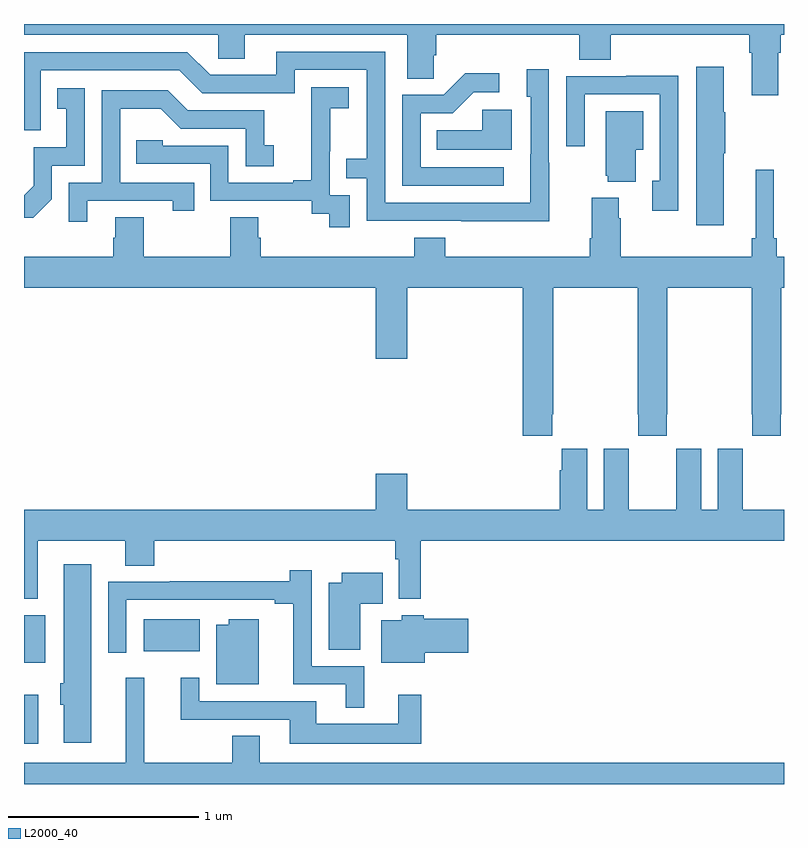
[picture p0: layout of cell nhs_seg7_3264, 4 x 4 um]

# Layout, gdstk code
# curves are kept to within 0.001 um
import gdstk
lib = gdstk.Library(unit=1e-6, precision=1e-09)
def R(c, l, rs):  # rectangles x0, y0, x1, y1
    for r in rs: c.add(gdstk.rectangle(r[:2], r[2:], *l))
def P(c, l, *ps):  # polygons
    for p in ps: c.add(gdstk.Polygon(p, *l))
L2000_40 = (2000, 40)

nhs_seg7_3264 = lib.new_cell('nhs_seg7_3264')
R(nhs_seg7_3264, L2000_40, [(319,1002.212,319.075,1002.469), (319,1002.638,319.111,1002.889), (319.631,1002.698,319.924,1002.868)])
P(nhs_seg7_3264, L2000_40, [(322.969,1005.848),(322.982,1005.848),(322.982,1005.944),(323,1005.944),(323,1006),(319,1006),(319,1005.944),(320.022,1005.944),(320.022,1005.817),(320.161,1005.817),(320.161,1005.944),(321.017,1005.944),(321.017,1005.712),(321.156,1005.712),(321.156,1005.835),(321.17,1005.835),(321.17,1005.944),(321.923,1005.944),(321.923,1005.811),(322.088,1005.811),(322.088,1005.944),(322.817,1005.944),(322.817,1005.848),(322.829,1005.848),(322.829,1005.624),(322.969,1005.624)],
  [(321.765,1005.269),(321.762,1005.269),(321.762,1005.763),(321.647,1005.763),(321.647,1005.618),(321.666,1005.618),(321.665,1005.06),(320.901,1005.06),(320.901,1005.855),(320.327,1005.855),(320.327,1005.732),(319.98,1005.732),(319.86,1005.852),(319,1005.852),(319,1005.441),(319.089,1005.441),(319.089,1005.756),(319.818,1005.756),(319.938,1005.636),(320.424,1005.636),(320.424,1005.759),(320.805,1005.759),(320.805,1005.29),(320.695,1005.29),(320.695,1005.189),(320.805,1005.189),(320.805,1004.964),(321.765,1004.963)],
  [(322.684,1005.319),(322.692,1005.319),(322.692,1005.536),(322.684,1005.536),(322.684,1005.775),(322.538,1005.775),(322.538,1004.94),(322.684,1004.94)],
  [(321.526,1005.246),(321.087,1005.246),(321.087,1005.531),(321.256,1005.531),(321.367,1005.642),(321.502,1005.642),(321.502,1005.74),(321.323,1005.74),(321.21,1005.627),(320.991,1005.627),(320.991,1005.15),(321.526,1005.15)],
  [(322.443,1005.728),(322.171,1005.728),(322.171,1005.726),(321.855,1005.726),(321.855,1005.357),(321.951,1005.357),(321.951,1005.63),(322.347,1005.63),(322.347,1005.174),(322.307,1005.174),(322.307,1005.018),(322.443,1005.018)],
  [(320.715,1005.099),(320.61,1005.099),(320.61,1005.329),(320.612,1005.329),(320.612,1005.557),(320.71,1005.557),(320.71,1005.667),(320.512,1005.667),(320.512,1005.461),(320.513,1005.461),(320.513,1005.178),(320.417,1005.178),(320.417,1005.165),(320.076,1005.165),(320.076,1005.36),(319.731,1005.36),(319.731,1005.387),(319.591,1005.387),(319.591,1005.264),(319.98,1005.264),(319.98,1005.069),(320.514,1005.069),(320.514,1005.001),(320.607,1005.001),(320.607,1004.931),(320.715,1004.931)],
  [(319.146,1005.078),(319.146,1005.255),(319.32,1005.255),(319.32,1005.661),(319.174,1005.661),(319.174,1005.555),(319.223,1005.555),(319.223,1005.351),(319.05,1005.351),(319.05,1005.15),(319,1005.1),(319,1004.981),(319.048,1004.981)],
  [(319.333,1005.069),(319.784,1005.069),(319.784,1005.018),(319.895,1005.018),(319.895,1005.165),(319.506,1005.165),(319.506,1005.554),(319.72,1005.554),(319.824,1005.45),(320.166,1005.45),(320.166,1005.252),(320.314,1005.252),(320.314,1005.361),(320.265,1005.361),(320.265,1005.546),(319.861,1005.546),(319.756,1005.651),(319.41,1005.651),(319.41,1005.165),(319.236,1005.165),(319.236,1004.958),(319.333,1004.958)],
  [(321.568,1005.55),(321.411,1005.55),(321.411,1005.442),(321.172,1005.442),(321.172,1005.338),(321.568,1005.338)],
  [(322.219,1005.338),(322.258,1005.338),(322.258,1005.541),(322.061,1005.541),(322.061,1005.201),(322.073,1005.201),(322.073,1005.17),(322.219,1005.17)],
  [(321.779,1003.945),(321.786,1003.945),(321.786,1004.612),(322.231,1004.612),(322.231,1003.945),(322.233,1003.945),(322.233,1003.833),(322.383,1003.833),(322.383,1003.945),(322.386,1003.945),(322.386,1004.612),(322.831,1004.612),(322.831,1003.945),(322.833,1003.945),(322.833,1003.833),(322.983,1003.833),(322.983,1003.945),(322.986,1003.945),(322.986,1004.612),(323,1004.612),(323,1004.776),(322.961,1004.776),(322.961,1004.872),(322.947,1004.872),(322.947,1005.232),(322.85,1005.232),(322.85,1004.872),(322.831,1004.872),(322.831,1004.776),(322.142,1004.776),(322.142,1004.978),(322.129,1004.978),(322.129,1005.085),(321.989,1005.085),(321.989,1004.872),(321.977,1004.872),(321.977,1004.776),(321.218,1004.776),(321.218,1004.875),(321.053,1004.875),(321.053,1004.776),(320.246,1004.776),(320.246,1004.874),(320.233,1004.874),(320.233,1004.984),(320.086,1004.984),(320.086,1004.776),(319.629,1004.776),(319.629,1004.984),(319.481,1004.984),(319.481,1004.874),(319.469,1004.874),(319.469,1004.776),(319,1004.776),(319,1004.612),(320.852,1004.612),(320.852,1004.238),(321.016,1004.238),(321.016,1004.612),(321.626,1004.612),(321.626,1003.833),(321.779,1003.833)],
  [(319.072,1003.28),(319.532,1003.28),(319.532,1003.15),(319.685,1003.15),(319.685,1003.28),(320.953,1003.28),(320.953,1003.184),(320.973,1003.184),(320.973,1002.974),(321.089,1002.974),(321.089,1003.28),(323,1003.28),(323,1003.444),(322.783,1003.444),(322.783,1003.652),(322.782,1003.652),(322.782,1003.765),(322.652,1003.765),(322.652,1003.444),(322.564,1003.444),(322.564,1003.765),(322.434,1003.765),(322.434,1003.652),(322.433,1003.652),(322.433,1003.444),(322.183,1003.444),(322.183,1003.652),(322.182,1003.652),(322.182,1003.765),(322.052,1003.765),(322.052,1003.444),(321.964,1003.444),(321.964,1003.765),(321.83,1003.765),(321.83,1003.652),(321.821,1003.652),(321.821,1003.444),(321.016,1003.444),(321.016,1003.633),(320.852,1003.633),(320.852,1003.444),(319,1003.444),(319,1002.974),(319.072,1002.974)],
  [(319.354,1003.156),(319.208,1003.156),(319.208,1002.531),(319.19,1002.531),(319.19,1002.417),(319.208,1002.417),(319.208,1002.216),(319.354,1002.216)],
  [(320.791,1002.621),(320.514,1002.621),(320.514,1003.126),(320.398,1003.126),(320.398,1003.067),(319.768,1003.067),(319.768,1003.065),(319.443,1003.065),(319.443,1002.69),(319.539,1002.69),(319.539,1002.969),(320.321,1002.969),(320.321,1002.949),(320.417,1002.949),(320.417,1002.525),(320.693,1002.525),(320.693,1002.401),(320.791,1002.401)],
  [(320.77,1002.95),(320.888,1002.95),(320.888,1003.111),(320.672,1003.111),(320.672,1003.06),(320.603,1003.06),(320.603,1002.706),(320.77,1002.706)],
  [(321.109,1002.692),(321.337,1002.692),(321.337,1002.87),(321.105,1002.87),(321.105,1002.889),(320.988,1002.889),(320.988,1002.862),(320.879,1002.862),(320.879,1002.638),(321.109,1002.638)],
  [(320.236,1002.868),(320.078,1002.868),(320.078,1002.838),(320.012,1002.838),(320.012,1002.524),(320.236,1002.524)],
  [(321.091,1002.469),(320.969,1002.469),(320.969,1002.316),(320.539,1002.316),(320.539,1002.435),(319.923,1002.435),(319.923,1002.559),(319.826,1002.559),(319.826,1002.339),(320.399,1002.339),(320.399,1002.212),(321.091,1002.212)],
  [(320.242,1002.254),(320.095,1002.254),(320.095,1002.112),(319.634,1002.112),(319.634,1002.559),(319.535,1002.559),(319.535,1002.112),(319,1002.112),(319,1002),(323,1002),(323,1002.112),(320.242,1002.112)])

lib.write_gds('nhs_seg7_3264.gds')
